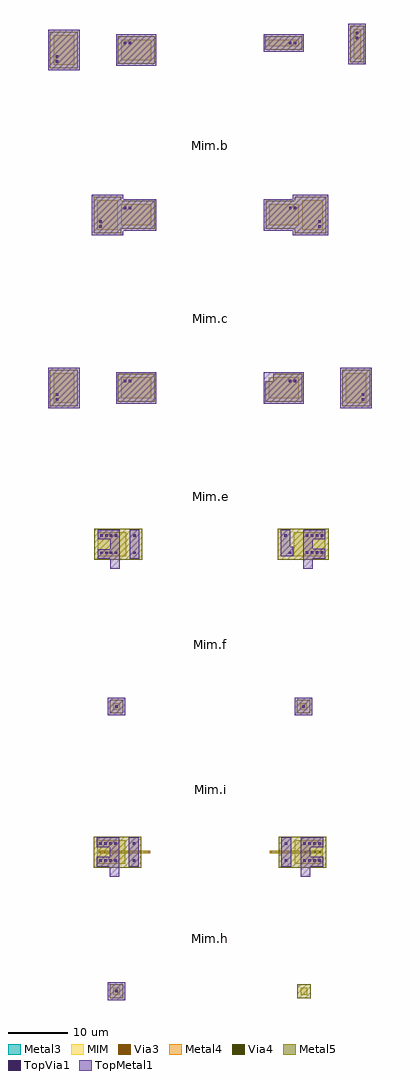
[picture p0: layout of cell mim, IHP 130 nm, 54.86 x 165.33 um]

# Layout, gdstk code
import gdstk
lib = gdstk.Library(unit=1e-6, precision=1e-09)
def R(c, l, rs):  # rectangles x0, y0, x1, y1
    for r in rs: c.add(gdstk.rectangle(r[:2], r[2:], *l))
def A(c, l, x, y, w, h, nx, ny, dx, dy):  # array of equal rectangles
    R(c, l, [(x+i*dx, y+j*dy, x+i*dx+w, y+j*dy+h) for i in range(nx) for j in range(ny)])
def P(c, l, *ps):  # polygons
    for p in ps: c.add(gdstk.Polygon(p, *l))
Metal3 = (30, 0)
MIM = (36, 0)
Via3 = (49, 0)
Metal4 = (50, 0)
Via4 = (66, 0)
Metal5 = (67, 0)
TopVia1 = (125, 0)
TopMetal1 = (126, 0)

mim_fail = lib.new_cell('mim_fail')
R(mim_fail, Metal3, [(10.105,-157.85,18.855,-157.4)])
R(mim_fail, MIM, [(15.34,-181.765,16.48,-180.615), (14.325,-159.65,19.085,-155.6), (15.275,-133.53,16.415,-132.39), (14.215,-107.5,19.495,-103.44), (23,-81.51,26.5,-76.51), (9.985,-80.735,14.985,-77.235), (15.585,-52.205,19.085,-47.205), (10,-51.43,15,-47.93), (24.36,-23.285,25.49,-18.285), (9.985,-21.13,14.985,-20)])
R(mim_fail, Via3, [(10.295,-157.73,10.485,-157.54)])
R(mim_fail, Metal4, [(10.105,-157.85,18.855,-157.4)])
A(mim_fail, Via4, 16.015, -157.72, 0.19, 0.19, 4, 1, 0.84, 0)
R(mim_fail, Metal5, [(14.74,-182.365,17.08,-180.015), (11.605,-160.25,19.685,-155), (14.675,-134.13,17.015,-131.79), (11.495,-108.1,20.095,-102.84), (22.43,-82.11,27.1,-75.91), (23.76,-23.885,26.09,-17.685), (9.385,-21.73,15.585,-19.4)])
P(mim_fail, Metal5, [(9.385,-81.315),(9.385,-77.89),(10.73,-77.89),(10.73,-76.635),(15.585,-76.635),(15.585,-81.315)],
  [(14.315,-52.805),(14.315,-52.03),(9.4,-52.03),(9.4,-47.33),(14.315,-47.33),(14.315,-46.605),(19.685,-46.605),(19.685,-52.805)])
A(mim_fail, TopVia1, 15.785, -159.29, 0.42, 0.42, 4, 2, 0.84, 2.91)
A(mim_fail, TopVia1, 16.195, -107.13, 0.42, 0.42, 4, 2, 0.84, 2.91)
R(mim_fail, TopVia1, [(12.685,-159.29,13.105,-158.87), (12.685,-156.38,13.105,-155.96), (15.635,-133.17,16.055,-132.75), (13.295,-107.14,13.715,-106.72), (12.575,-104.23,12.995,-103.81), (25.72,-81.15,26.14,-80.73), (25.72,-80.305,26.14,-79.885), (13.36,-78.015,13.78,-77.595), (14.205,-78.015,14.625,-77.595), (18.305,-51.845,18.725,-51.425), (18.305,-51,18.725,-50.58), (13.375,-48.71,13.795,-48.29), (14.22,-48.71,14.64,-48.29), (13.36,-20.78,13.78,-20.36), (14.205,-20.78,14.625,-20.36), (24.72,-19.91,25.14,-19.49), (24.72,-19.065,25.14,-18.645)])
R(mim_fail, TopMetal1, [(15.365,-161.79,17.005,-160.09), (12.085,-160.09,13.725,-155.16), (15.365,-160.09,19.145,-158.45), (15.365,-158.45,17.005,-156.8), (15.365,-156.8,19.145,-155.16), (14.355,-134.455,17.335,-131.47), (15.775,-109.63,17.415,-107.93), (15.775,-107.93,19.555,-106.29), (15.775,-106.29,17.415,-104.64), (15.775,-104.64,19.555,-103), (22.075,-82.43,27.42,-75.59), (9.065,-81.66,15.905,-76.315), (23.44,-24.205,26.415,-17.365), (9.065,-22.055,15.905,-19.08)])
P(mim_fail, TopMetal1, [(13.99,-53.125),(13.99,-52.355),(9.08,-52.355),(9.08,-47.01),(13.99,-47.01),(13.99,-46.285),(20.005,-46.285),(20.005,-53.125)],
  [(11.975,-107.56),(11.975,-103.01),(13.615,-103.01),(13.615,-105.92),(14.135,-105.92),(14.135,-107.56)])

mim_pass = lib.new_cell('mim_pass')
R(mim_pass, Metal3, [(-18.87,-157.85,-10.12,-157.4)])
R(mim_pass, MIM, [(-16.43,-181.765,-15.29,-180.615), (-19.1,-159.65,-14.34,-155.6), (-16.43,-133.54,-15.29,-132.39), (-18.99,-107.5,-14.23,-103.45), (-26.515,-81.51,-23.015,-76.51), (-15,-80.735,-10,-77.235), (-19.1,-52.205,-15.6,-47.205), (-15,-51.43,-10,-47.93), (-26.515,-24.275,-23.015,-19.275), (-15,-23.5,-10,-20)])
A(mim_pass, Via3, -18.74, -157.72, 0.19, 0.19, 4, 1, 0.84, 0)
R(mim_pass, Via3, [(-10.5,-157.73,-10.31,-157.54)])
R(mim_pass, Metal4, [(-18.87,-157.85,-10.12,-157.4)])
R(mim_pass, Metal5, [(-17.03,-182.365,-14.69,-180.015), (-19.7,-160.25,-11.62,-155), (-17.03,-134.14,-14.69,-131.79), (-19.59,-108.1,-11.51,-102.85), (-27.115,-82.11,-22.415,-75.91), (-15.6,-81.335,-9.4,-76.635), (-27.115,-24.875,-22.415,-18.675), (-15.6,-24.1,-9.4,-19.4)])
P(mim_pass, Metal5, [(-19.7,-52.805),(-19.7,-46.605),(-15,-46.605),(-15,-47.33),(-9.4,-47.33),(-9.4,-52.03),(-15,-52.03),(-15,-52.805)])
A(mim_pass, TopVia1, -18.74, -159.29, 0.42, 0.42, 4, 2, 0.84, 2.91)
A(mim_pass, TopVia1, -18.63, -107.14, 0.42, 0.42, 4, 2, 0.84, 2.91)
R(mim_pass, TopVia1, [(-16.07,-181.395,-15.65,-180.975), (-13.12,-159.29,-12.7,-158.87), (-13.12,-156.38,-12.7,-155.96), (-16.07,-133.17,-15.65,-132.75), (-13.01,-107.14,-12.59,-106.72), (-13.01,-104.23,-12.59,-103.81), (-26.155,-81.15,-25.735,-80.73), (-26.155,-80.305,-25.735,-79.885), (-14.64,-78.015,-14.22,-77.595), (-13.795,-78.015,-13.375,-77.595), (-18.74,-51.845,-18.32,-51.425), (-18.74,-51,-18.32,-50.58), (-14.64,-48.71,-14.22,-48.29), (-13.795,-48.71,-13.375,-48.29), (-26.155,-23.915,-25.735,-23.495), (-26.155,-23.07,-25.735,-22.65), (-14.64,-20.78,-14.22,-20.36), (-13.795,-20.78,-13.375,-20.36)])
R(mim_pass, TopMetal1, [(-17.35,-182.69,-14.37,-179.695), (-17.02,-161.79,-15.38,-160.09), (-19.16,-160.09,-15.38,-158.45), (-13.74,-160.09,-12.1,-155.16), (-17.02,-158.45,-15.38,-156.8), (-19.16,-156.8,-15.38,-155.16), (-17.35,-134.465,-14.37,-131.47), (-16.91,-109.64,-15.27,-107.94), (-19.05,-107.94,-15.27,-106.3), (-13.63,-107.94,-11.99,-103.01), (-16.91,-106.3,-15.27,-104.65), (-19.05,-104.65,-15.27,-103.01), (-27.435,-82.43,-22.09,-75.59), (-15.92,-81.66,-9.08,-76.315), (-27.435,-25.195,-22.09,-18.355), (-15.92,-24.425,-9.08,-19.08)])
P(mim_pass, TopMetal1, [(-20.02,-53.125),(-20.02,-46.285),(-14.675,-46.285),(-14.675,-47.01),(-9.08,-47.01),(-9.08,-52.355),(-14.675,-52.355),(-14.675,-53.125)])

mim = lib.new_cell('mim')
mim.add(gdstk.Reference(mim_fail, (0,0)))
mim.add(gdstk.Reference(mim_pass, (0,0)))
mim.add(gdstk.Label('Mim.h', (0,-172.345), layer=63, texttype=0))
mim.add(gdstk.Label('FAIL', (12,5), layer=63, texttype=0))
mim.add(gdstk.Label('PASS', (-12,5), layer=63, texttype=0))
mim.add(gdstk.Label('Mim.c', (0,-67.335), layer=63, texttype=0))
mim.add(gdstk.Label('Mim.b', (0,-38.03), layer=63, texttype=0))
mim.add(gdstk.Label('Mim.a/d', (0,-10.1), layer=63, texttype=0))
mim.add(gdstk.Label('6.3_MIM', (0,21), layer=63, texttype=0))
mim.add(gdstk.Label('Mim.e', (0,-97.435), layer=63, texttype=0))
mim.add(gdstk.Label('Mim.f', (0,-122.49), layer=63, texttype=0))
mim.add(gdstk.Label('Mim.i', (0,-146.97), layer=63, texttype=0))

lib.write_gds('mim.gds')
